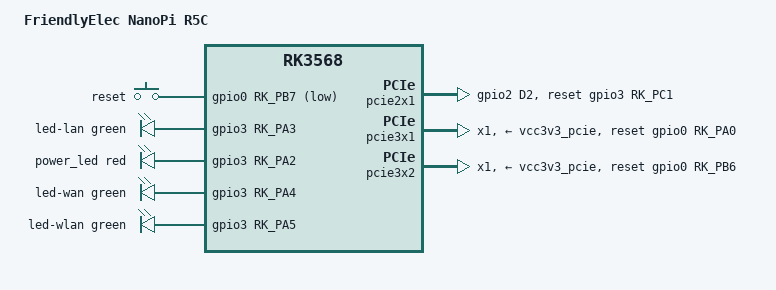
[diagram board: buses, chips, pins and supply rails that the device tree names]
// SPDX-License-Identifier: GPL-2.0-or-later OR MIT
/*
 * Copyright (c) 2022 FriendlyElec Computer Tech. Co., Ltd.
 * (http://www.friendlyelec.com)
 *
 * Copyright (c) 2023 Tianling Shen <cnsztl@gmail.com>
 */

/dts-v1/;
#include "rk3568-nanopi-r5s.dtsi"

/ {
	model = "FriendlyElec NanoPi R5C";
	compatible = "friendlyarm,nanopi-r5c", "rockchip,rk3568";

	gpio-keys {
		compatible = "gpio-keys";
		pinctrl-names = "default";
		pinctrl-0 = <&reset_button_pin>;

		button-reset {
			debounce-interval = <50>;
			gpios = <&gpio0 RK_PB7 GPIO_ACTIVE_LOW>;
			label = "reset";
			linux,code = <KEY_RESTART>;
		};
	};

	gpio-leds {
		compatible = "gpio-leds";
		pinctrl-names = "default";
		pinctrl-0 = <&lan_led_pin>, <&power_led_pin>, <&wan_led_pin>, <&wlan_led_pin>;

		led-lan {
			color = <LED_COLOR_ID_GREEN>;
			function = LED_FUNCTION_LAN;
			gpios = <&gpio3 RK_PA3 GPIO_ACTIVE_HIGH>;
		};

		power_led: led-power {
			color = <LED_COLOR_ID_RED>;
			function = LED_FUNCTION_POWER;
			linux,default-trigger = "heartbeat";
			gpios = <&gpio3 RK_PA2 GPIO_ACTIVE_HIGH>;
		};

		led-wan {
			color = <LED_COLOR_ID_GREEN>;
			function = LED_FUNCTION_WAN;
			gpios = <&gpio3 RK_PA4 GPIO_ACTIVE_HIGH>;
		};

		led-wlan {
			color = <LED_COLOR_ID_GREEN>;
			function = LED_FUNCTION_WLAN;
			gpios = <&gpio3 RK_PA5 GPIO_ACTIVE_HIGH>;
		};
	};
};

&pcie2x1 {
	pinctrl-names = "default";
	pinctrl-0 = <&pcie20_reset_pin>;
	reset-gpios = <&gpio3 RK_PC1 GPIO_ACTIVE_HIGH>;
	status = "okay";
};

&pcie3x1 {
	num-lanes = <1>;
	reset-gpios = <&gpio0 RK_PA0 GPIO_ACTIVE_HIGH>;
	vpcie3v3-supply = <&vcc3v3_pcie>;
	status = "okay";
};

&pcie3x2 {
	num-lanes = <1>;
	reset-gpios = <&gpio0 RK_PB6 GPIO_ACTIVE_HIGH>;
	vpcie3v3-supply = <&vcc3v3_pcie>;
	status = "okay";
};

&pinctrl {
	gpio-leds {
		lan_led_pin: lan-led-pin {
			rockchip,pins = <3 RK_PA3 RK_FUNC_GPIO &pcfg_pull_none>;
		};

		power_led_pin: power-led-pin {
			rockchip,pins = <3 RK_PA2 RK_FUNC_GPIO &pcfg_pull_none>;
		};

		wan_led_pin: wan-led-pin {
			rockchip,pins = <3 RK_PA4 RK_FUNC_GPIO &pcfg_pull_none>;
		};

		wlan_led_pin: wlan-led-pin {
			rockchip,pins = <3 RK_PA5 RK_FUNC_GPIO &pcfg_pull_none>;
		};
	};

	pcie {
		pcie20_reset_pin: pcie20-reset-pin {
			rockchip,pins = <2 RK_PD2 RK_FUNC_GPIO &pcfg_pull_up>;
		};
	};

	rockchip-key {
		reset_button_pin: reset-button-pin {
			rockchip,pins = <0 RK_PB7 RK_FUNC_GPIO &pcfg_pull_up>;
		};
	};
};
